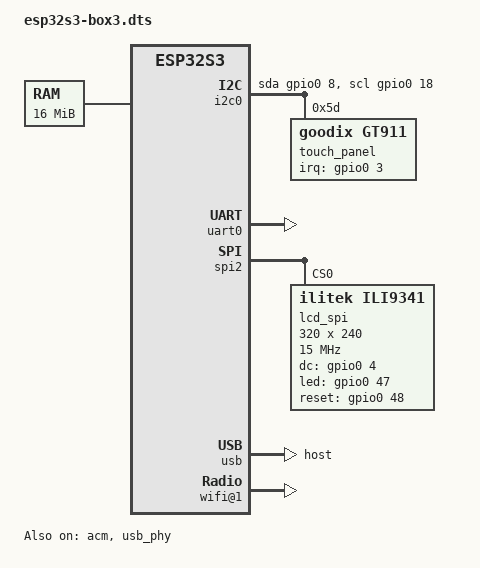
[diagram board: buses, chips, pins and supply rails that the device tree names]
// SPDX-License-Identifier: GPL-2.0-or-later
/dts-v1/;
#include <dt-bindings/gpio/gpio.h>
#include <dt-bindings/interrupt-controller/irq.h>
#include "gpio-esp32.h"
#include "esp32s3.dtsi"

/ {
	chosen {
		bootargs = "console=tty0 rw root=mtd:rootfs no_hash_pointers ";
	};

	memory@0 {
		device_type = "memory";
		reg = <0x3d000000 0x01000000>;
	};

	i2c0 {
		#address-cells = <1>;
		#size-cells = <0>;
		compatible = "i2c-gpio";

		sda-gpios = <&gpio0 8  (GPIO_ACTIVE_HIGH | GPIO_OPEN_DRAIN)>;
		scl-gpios = <&gpio0 18 (GPIO_ACTIVE_HIGH | GPIO_OPEN_DRAIN)>;

		pinctrl-0 = <&i2c0_pins>;
		pinctrl-names = "default";

		touch_panel@5d {
			compatible = "goodix,gt911";
			reg = <0x5d>;
			interrupt-parent = <&gpio0>;
			interrupts = <3 IRQ_TYPE_EDGE_RISING>;
			irq-gpios = <&gpio0 3 GPIO_ACTIVE_HIGH>;

			pinctrl-0 = <&touch_panel_pins>;
			pinctrl-names = "default";
		};
	};
};

&gpio_in_mux {
	status = "ok";
	usb_device_in: usb_device_in {
		pinctrl-single,pins = <
			GPIO_FUNC_IN_SEL(58) 0x38		/* usb_otg_iddig_in: fixed '1' */
			GPIO_FUNC_IN_SEL(59) 0x3c		/* usb_srp_avalid_in: fixed '0' */
			GPIO_FUNC_IN_SEL(60) 0x38		/* usb_srp_bvalid_in: fixed '1' */
			GPIO_FUNC_IN_SEL(61) 0x38>;		/* usb_otg_vbusvalid_in: fixed '1' */
	};

	usb_host_in: usb_host_in {
		pinctrl-single,pins = <
			GPIO_FUNC_IN_SEL(58) 0x3c		/* usb_otg_iddig_in: fixed '0' */
			GPIO_FUNC_IN_SEL(59) 0x38		/* usb_srp_avalid_in: fixed '1' */
			GPIO_FUNC_IN_SEL(60) 0x3c		/* usb_srp_bvalid_in: fixed '0' */
			GPIO_FUNC_IN_SEL(61) 0x38>;		/* usb_otg_vbusvalid_in: fixed '1' */
	};
};

&gpio_out_mux {
	status = "ok";
	spi2_gpio_out: spi2_gpio_out {
		pinctrl-single,pins = <
			GPIO_FUNC_OUT_SEL(5) 110		/* SPI2 CS0:  GPIO5, signal 110 */
			GPIO_FUNC_OUT_SEL(6) 103		/* SPI2 MOSI: GPIO6, signal 103 */
			GPIO_FUNC_OUT_SEL(7) 101>;		/* SPI2 SCK:  GPIO7, signal 101 */
	};
};

&rtc_iomux {
	status = "ok";
	usb_rtc_pins: usb_rtc_pins {
		pinctrl-single,pins = <
			PIN(19) RTC_MUX_SEL			/* USB_D- */
			PIN(20) RTC_MUX_SEL>;			/* USB_D+ */
	};
};

&iomux {
	status = "ok";

	spi2_pins: spi2_pins {
		pinctrl-single,pins = <
			PIN(5) (FUN_SEL(0) | FUN_DRV_20MA)	/* CS0 */
			PIN(6) (FUN_SEL(0) | FUN_DRV_40MA)	/* MOSI */
			PIN(7) (FUN_SEL(0) | FUN_DRV_40MA)>;	/* SCK */
	};
	i2c0_pins: i2c0_pins {
		pinctrl-single,pins = <
			PIN(8)  FUN0_20MA_IE_WPU		/* SDA */
			PIN(18) FUN0_20MA_IE_WPU>;		/* SCL */
	};
	uart0_pins: uart0_pins {
		pinctrl-single,pins = <
			PIN(43) FUN0_20MA			/* U0TXD */
			PIN(44) FUN0_20MA_IE_WPU>;		/* U0RXD */
	};
	usb_pins: usb_pins {
		pinctrl-single,pins = <
			PIN(19) MUX_SLP_SEL			/* USB_D- */
			PIN(20) MUX_SLP_SEL>;			/* USB_D+ */
	};
	lcd_pins: lcd_pins {
		pinctrl-single,pins = <
			PIN(4) FUN0_20MA			/* LCD_DC */
			PIN(47) (FUN_SEL(1) | FUN_DRV_20MA)	/* LCD_CTRL */
			PIN(48) (FUN_SEL(1) | FUN_DRV_20MA)>;	/* LCD_RST */
	};
	touch_panel_pins: touch_panel_pins {
		pinctrl-single,pins = <
			PIN(3)  FUN0_20MA_IE>;			/* INT */
	};
};

&gpio0 {
	status = "ok";
};

&uart0 {
	pinctrl-0 = <&uart0_pins>;
	pinctrl-names = "default";
	status = "ok";
};

&spi2 {
	pinctrl-0 = <&spi2_pins &spi2_gpio_out>;
	pinctrl-names = "default";
	status = "ok";

	lcd_spi@0 {
		compatible = "ilitek,ili9341";
		reg = <0>;
		spi-max-frequency = <15000000>;
		buswidth = <8>;
		dc-gpios = <&gpio0 4 GPIO_ACTIVE_HIGH>;
		led-gpios = <&gpio0 47 GPIO_ACTIVE_HIGH>;
		reset-gpios = <&gpio0 48 GPIO_ACTIVE_HIGH>;
		width = <320>;
		height = <240>;
		bgr;

		pinctrl-0 = <&lcd_pins>;
		pinctrl-names = "default";
	};
};

&acm {
	status = "ok";
};

&usb_phy {
	status = "ok";
};

&usb {
#if 1
	dr_mode = "host";
	pinctrl-0 = <&usb_host_in &usb_rtc_pins>;
#else
	dr_mode = "peripheral";
	pinctrl-0 = <&usb_device_in &usb_rtc_pins>;
#endif
	pinctrl-names = "default";
	status = "ok";
};

&ipc {
	wifi@1 {
		compatible = "esp,esp32-wifi-shmem";
		reg = <1>;
	};
};

&intc {
	reg = <0x600c2800 0x800>;
};
